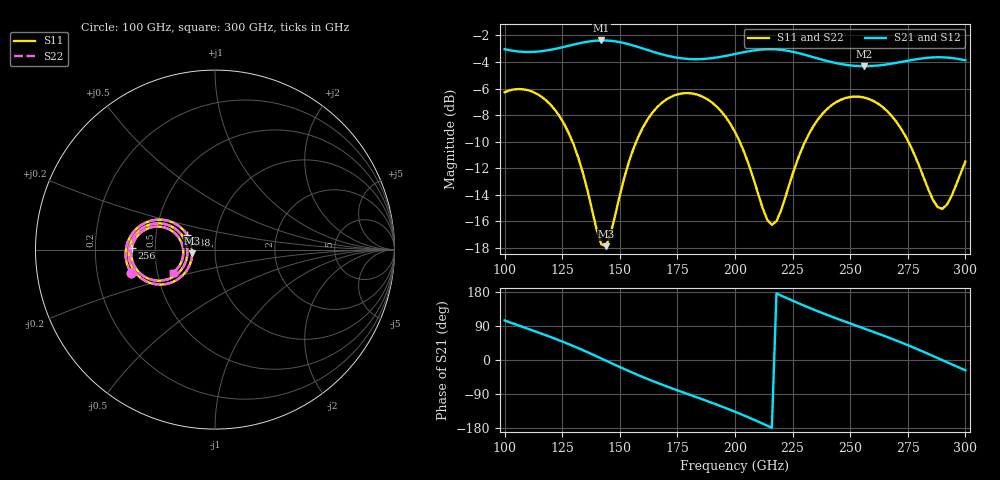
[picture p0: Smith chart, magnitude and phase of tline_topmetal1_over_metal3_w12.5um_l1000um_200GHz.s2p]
#  GHZ S DB R 50
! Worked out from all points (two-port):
!   101 points, 100 GHz to 300 GHz, reference 50 ohm
!   highest |S21| = -2.38 dB at 142 GHz (marker M1); lowest = -4.3 dB at 256 GHz (marker M2)
!   |S21| within 3 dB of the highest: start of sweep to end of sweep
!   lowest |S11| = -17.9 dB at 144 GHz (marker M3), VSWR 1.29, Z = 38.8 - j1.56 ohm
!   |S11| at or under -10 dB: 129.4 GHz to 157.2 GHz (27.72 GHz wide, 19.3 % of centre); 202.1 GHz to 230.4 GHz (28.37 GHz wide, 13.1 % of centre); 275.2 GHz to end of sweep
!   |S22| runs from -17.9 to -6.0 dB; largest |S21 - S12| = 8.1e-14
!   S11 on the Smith chart (normalised r, x): 100 GHz: 0.35, -0.12; 138 GHz: 0.72, +0.12; 256 GHz: 0.37, +0.01; 300 GHz: 0.60, -0.17
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100  -6.27 -164.7  -3.04 104.4  -3.04 104.4  -6.27 -164.7
118  -6.88 165.1  -3.14 65.1  -3.14 65.1  -6.89 165.0
126  -8.71 153.0  -2.85 46.3  -2.85 46.3  -8.71 153.0
134  -12.35 146.8  -2.54 25.9  -2.54 25.9  -12.36 146.7
138  -15.16 152.1  -2.43 15.0  -2.43 15.0  -15.17 152.1
142  -17.72 173.0  -2.38 3.9  -2.38 3.9  -17.73 173.0
144  -17.86 -171.1  -2.38 -1.8  -2.38 -1.8  -17.86 -171.1
156  -10.49 -142.6  -2.77 -34.7  -2.77 -34.7  -10.49 -142.6
168  -7.11 -158.7  -3.41 -64.3  -3.41 -64.3  -7.11 -158.7
184  -6.48 176.4  -3.79 -99.7  -3.79 -99.7  -6.48 176.4
200  -9.27 154.8  -3.40 -136.5  -3.40 -136.5  -9.27 154.8
208  -12.77 153.3  -3.14 -157.1  -3.14 -157.1  -12.76 153.4
216  -16.26 -178.3  -3.04 -178.8  -3.04 -178.8  -16.22 -178.3
224  -12.98 -148.4  -3.19 159.3  -3.19 159.3  -12.95 -148.6
234  -8.84 -151.3  -3.64 133.4  -3.64 133.4  -8.83 -151.5
244  -7.01 -164.4  -4.09 109.8  -4.09 109.8  -7.01 -164.5
256  -6.67 178.6  -4.31 83.2  -4.31 83.2  -6.67 178.4
268  -8.05 162.9  -4.12 56.1  -4.12 56.1  -8.06 162.8
278  -11.01 156.1  -3.81 31.5  -3.81 31.5  -11.03 156.0
288  -14.92 175.9  -3.64 5.0  -3.64 5.0  -14.94 175.9
292  -14.73 -167.1  -3.67 -5.8  -3.67 -5.8  -14.74 -167.1
300  -11.49 -151.2  -3.87 -27.2  -3.87 -27.2  -11.49 -151.2
